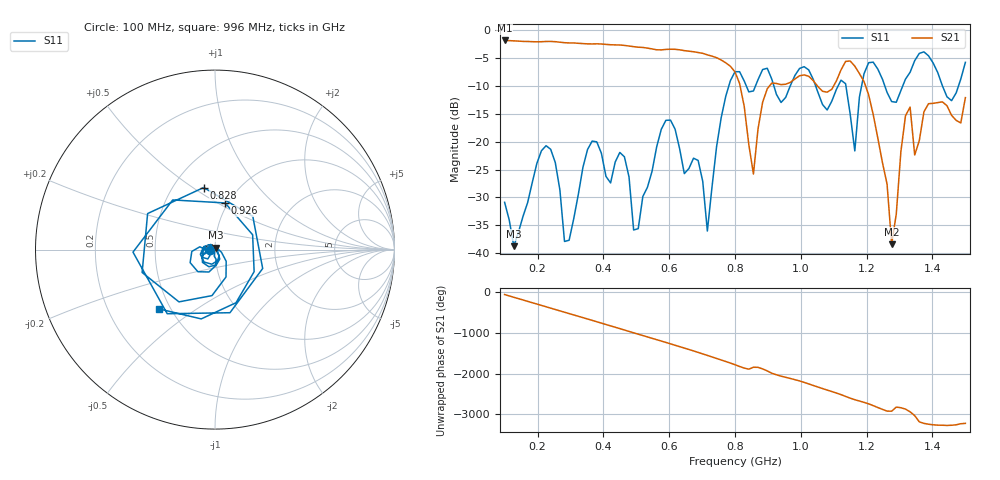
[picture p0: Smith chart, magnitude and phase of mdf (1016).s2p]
! NanoVNA-App
! Date: 2025-09-25 15:46:19
! Start: 100MHz Stop: 1,5GHz Points: 101
! S-Parameter data: F S11 S21 S12 S22
# Hz S RI R 50
!  Frequency  S11_Real  S11_Imag  S21_Real  S21_Imag  S12_Real  S12_Imag  S22_Real  S22_Imag
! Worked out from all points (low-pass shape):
!   101 points, 100 MHz to 1.5 GHz, reference 50 ohm
!   highest |S21| = -1.81 dB at 100 MHz (marker M1); lowest = -38.4 dB at 1.276 GHz (marker M2)
!   |S21| within 3 dB of the highest: start of sweep to 739.5 MHz
!   lowest |S11| = -38.7 dB at 128 MHz (marker M3), VSWR 1.02, Z = 50.4 + j1.09 ohm
!   |S11| at or under -10 dB: start of sweep to 781.1 MHz; 1.045 GHz to 1.113 GHz (67.96 MHz wide, 6.3 % of centre); 1.255 GHz to 1.309 GHz (54.16 MHz wide, 4.22 % of centre) (the widest 3 of 7)
!   S12 and S22 are empty: the file has one direction only
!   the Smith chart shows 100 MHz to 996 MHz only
!   S11 on the Smith chart (normalised r, x): 100 MHz: 0.94, -0.01; 828 MHz: 0.70, +0.55; 926 MHz: 0.97, +0.54; 996 MHz: 0.43, -0.36
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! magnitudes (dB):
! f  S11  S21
! 100 MHz  -30.9  -1.8
! 128 MHz  -38.7  -1.9
! 212 MHz  -21.6  -2.0
! 282 MHz  -37.9  -2.2
! 338 MHz  -24.6  -2.4
! 464 MHz  -22.7  -2.7
! 506 MHz  -35.6  -3.0
! 576 MHz  -17.8  -3.5
! 688 MHz  -23.4  -4.0
! 716 MHz  -36.0  -4.4
! 800 MHz  -7.4  -7.5
! 828 MHz  -9.1  -13.6
! 856 MHz  -10.9  -25.8
! 926 MHz  -11.5  -9.5
! 996 MHz  -6.8  -8.2
! 1.038 GHz  -8.8  -9.1
! 1.136 GHz  -9.6  -5.6
! 1.164 GHz  -21.6  -6.4
! 1.192 GHz  -7.8  -9.2
! 1.276 GHz  -12.8  -38.4
! 1.318 GHz  -8.7  -15.3
! 1.5 GHz  -5.7  -12.1
